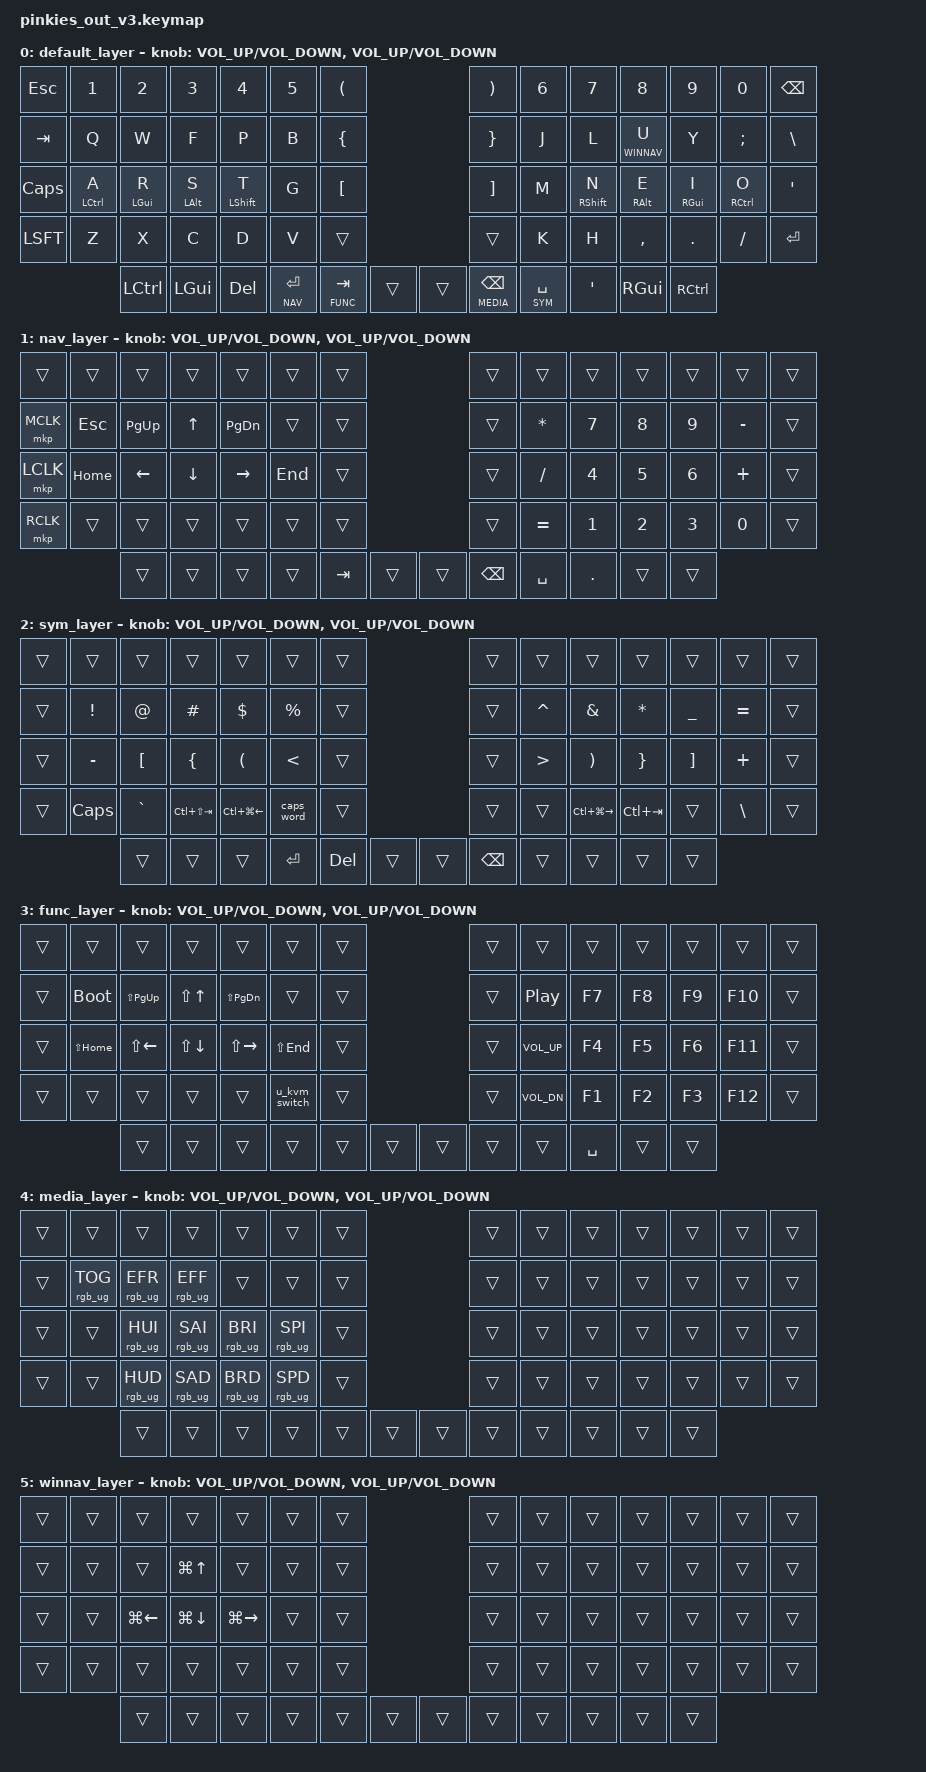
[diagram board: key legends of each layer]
/*
 * Copyright (c) 2020 The ZMK Contributors
 *
 * SPDX-License-Identifier: MIT
 */

#include <behaviors.dtsi>
#include <dt-bindings/zmk/keys.h>
#include <dt-bindings/zmk/rgb.h>
#include <dt-bindings/zmk/outputs.h>
#include <dt-bindings/zmk/rgb.h>
#include <zephyr/dt-bindings/pwm/pwm.h>
#include <dt-bindings/zmk/mouse.h>
#include <behaviors/mouse_keys.dtsi>

#define DEFAULT 0
#define NAV     1
#define SYM     2
#define FUNC    3
#define MEDIA   4
#define WINNAV  5

&caps_word {
    continue-list = <UNDERSCORE MINUS>;
};

/ {
    combos {
        compatible = "zmk,combos";
        combo_undo {
            timeout-ms = <50>;
            key-positions = <43 44>;
            bindings = <&kp LC(Z)>;
        };
    };
};

/ {
    sensors {
        compatible = "zmk,keymap-sensors";
        sensors = <&encoder_1 &encoder_2>;
        triggers-per-rotation = <20>;
    };
};

/ {
    macros {
        u_kvm_switch: u_kvm_switch {
            compatible = "zmk,behavior-macro";
            #binding-cells = <0>;
            bindings
                = <&macro_press &kp TAB>
                , <&macro_wait_time 200>
                , <&macro_tap &kp RIGHT>
                , <&macro_wait_time 200>
                , <&macro_release &kp TAB>
                ;
        };
    };
};

/ {
    behaviors {
        hm: homerow_mods {
            compatible = "zmk,behavior-hold-tap";
            #binding-cells = <2>;
            tapping-term-ms = <200>;
            flavor = "tap-preferred";
            bindings = <&kp>, <&kp>;
        };
        hs: homerow_shift {
            compatible = "zmk,behavior-hold-tap";
            #binding-cells = <2>;
            tapping-term-ms = <175>;
            flavor = "balanced";
            bindings = <&kp>, <&kp>;
        };
        // for audio buzzer
        tone: tone {
            compatible = "chiptuner,behavior-tone";
            #binding-cells = <1>;
            pwms = <&pwm 2 PWM_USEC(20) PWM_POLARITY_NORMAL>;
        };
    };

    keymap {
        compatible = "zmk,keymap";

        default_layer {
            sensor-bindings = <&inc_dec_kp C_VOLUME_UP C_VOLUME_DOWN &inc_dec_kp C_VOLUME_UP C_VOLUME_DOWN>;

            bindings = <
    &kp ESC    &kp N1      &kp N2      &kp N3      &kp N4        &kp N5       &kp LPAR                            &kp RPAR        &kp N6         &kp N7        &kp N8        &kp N9      &kp N0      &kp BSPC
    &kp TAB    &kp Q       &kp W       &kp F       &kp P         &kp B        &kp LBRC                            &kp RBRC        &kp J          &kp L         &lt WINNAV U  &kp Y       &kp SEMI    &kp BSLH
    &kp CAPS   &hm LCTL A  &hm LGUI R  &hm LALT S  &hs LSHIFT T  &kp G        &kp LBKT                            &kp RBKT        &kp M    &hs RSHIFT N  &hm RALT E    &hm RGUI I  &hm RCTL O  &kp SQT
    &kp LSFT   &kp Z       &kp X       &kp C       &kp D         &kp V        &trans                              &trans          &kp K          &kp H         &kp COMMA     &kp DOT     &kp FSLH    &kp RET
                           &kp LCTL    &kp LGUI    &kp DEL       &lt NAV RET  &lt FUNC TAB    &trans    &trans    &lt MEDIA BSPC  &lt SYM SPACE  &kp SQT       &kp RGUI      &kp RCTL
            >;
        };

        nav_layer {
            sensor-bindings = <&inc_dec_kp C_VOLUME_UP C_VOLUME_DOWN &inc_dec_kp C_VOLUME_UP C_VOLUME_DOWN>;

            bindings = <
    &trans     &trans       &trans       &trans      &trans        &trans      &trans                              &trans     &trans        &trans       &trans        &trans      &trans      &trans
    &mkp MCLK  &kp ESC      &kp PG_UP    &kp UP      &kp PG_DN     &trans      &trans                              &trans     &kp ASTRK     &kp N7       &kp N8        &kp N9      &kp MINUS   &trans
    &mkp LCLK  &kp HOME     &kp LEFT     &kp DOWN    &kp RIGHT     &kp END     &trans                              &trans     &kp FSLH      &kp N4       &kp N5        &kp N6      &kp PLUS    &trans
    &mkp RCLK  &trans       &trans       &trans      &trans        &trans      &trans                              &trans     &kp EQUAL     &kp N1       &kp N2        &kp N3      &kp N0      &trans
                            &trans       &trans      &trans        &trans      &kp TAB      &trans    &trans       &kp BSPC   &kp SPACE     &kp DOT      &trans        &trans
            >;
        };

        sym_layer {
            sensor-bindings = <&inc_dec_kp C_VOLUME_UP C_VOLUME_DOWN &inc_dec_kp C_VOLUME_UP C_VOLUME_DOWN>;

            bindings = <
    &trans     &trans       &trans       &trans          &trans           &trans        &trans                           &trans         &trans        &trans            &trans        &trans      &trans      &trans
    &trans     &kp EXCL     &kp AT       &kp HASH        &kp DLLR         &kp PRCNT     &trans                           &trans         &kp CARET     &kp AMPS          &kp ASTRK     &kp UNDER   &kp EQUAL   &trans
    &trans     &kp MINUS    &kp LBKT     &kp LBRC        &kp LPAR         &kp LT        &trans                           &trans         &kp GT        &kp RPAR          &kp RBRC      &kp RBKT    &kp PLUS    &trans
    &trans     &kp CAPS     &kp GRAVE    &kp LC(LS(TAB)) &kp LC(LG(LEFT)) &caps_word    &trans                           &trans         &trans        &kp LC(LG(RIGHT)) &kp LC(TAB)   &trans      &kp BSLH    &trans
                            &trans       &trans          &trans           &kp RET       &kp DEL    &trans    &trans      &kp BSPC       &trans        &trans            &trans        &trans
            >;
        };

        func_layer {
            sensor-bindings = <&inc_dec_kp C_VOLUME_UP C_VOLUME_DOWN &inc_dec_kp C_VOLUME_UP C_VOLUME_DOWN>;

            bindings = <
    &trans     &trans       &trans        &trans       &trans        &trans        &trans                           &trans     &trans           &trans       &trans        &trans      &trans      &trans
    &trans     &bootloader  &kp LS(PG_UP) &kp LS(UP)   &kp LS(PG_DN) &trans        &trans                           &trans     &kp C_PLAY_PAUSE &kp F7       &kp F8        &kp F9      &kp F10     &trans
    &trans     &kp LS(HOME) &kp LS(LEFT)  &kp LS(DOWN) &kp LS(RIGHT) &kp LS(END)   &trans                           &trans     &kp K_VOL_UP     &kp F4       &kp F5        &kp F6      &kp F11     &trans
    &trans     &trans       &trans        &trans       &trans        &u_kvm_switch &trans                           &trans     &kp K_VOL_DN     &kp F1       &kp F2        &kp F3      &kp F12     &trans
                            &trans        &trans       &trans        &trans        &trans     &trans    &trans      &trans     &trans           &kp SPACE    &trans        &trans
            >;
        };

        media_layer {
            sensor-bindings = <&inc_dec_kp C_VOLUME_UP C_VOLUME_DOWN &inc_dec_kp C_VOLUME_UP C_VOLUME_DOWN>;

            bindings = <
    &trans     &trans           &trans           &trans          &trans            &trans             &trans                           &trans     &trans     &trans     &trans     &trans     &trans      &trans
    &trans     &rgb_ug RGB_TOG  &rgb_ug RGB_EFR  &rgb_ug RGB_EFF &trans            &trans             &trans                           &trans     &trans     &trans     &trans     &trans     &trans      &trans
    &trans     &trans           &rgb_ug RGB_HUI  &rgb_ug RGB_SAI &rgb_ug RGB_BRI   &rgb_ug RGB_SPI    &trans                           &trans     &trans     &trans     &trans     &trans     &trans      &trans
    &trans     &trans           &rgb_ug RGB_HUD  &rgb_ug RGB_SAD &rgb_ug RGB_BRD   &rgb_ug RGB_SPD    &trans                           &trans     &trans     &trans     &trans     &trans     &trans      &trans
                                &trans           &trans          &trans            &trans             &trans      &trans    &trans     &trans     &trans     &trans     &trans     &trans
            >;
        };

        winnav_layer {
            sensor-bindings = <&inc_dec_kp C_VOLUME_UP C_VOLUME_DOWN &inc_dec_kp C_VOLUME_UP C_VOLUME_DOWN>;

            bindings = <
    &trans     &trans       &trans       &trans       &trans        &trans        &trans                            &trans     &trans      &trans      &trans      &trans      &trans      &trans
    &trans     &trans       &trans       &kp LG(UP)   &trans        &trans        &trans                            &trans     &trans      &trans      &trans      &trans      &trans      &trans
    &trans     &trans       &kp LG(LEFT) &kp LG(DOWN) &kp LG(RIGHT) &trans        &trans                            &trans     &trans      &trans      &trans      &trans      &trans      &trans
    &trans     &trans       &trans       &trans       &trans        &trans        &trans                            &trans     &trans      &trans      &trans      &trans      &trans      &trans
                            &trans       &trans       &trans        &trans        &trans      &trans    &trans      &trans     &trans      &trans      &trans      &trans
            >;
        };
    };
};
